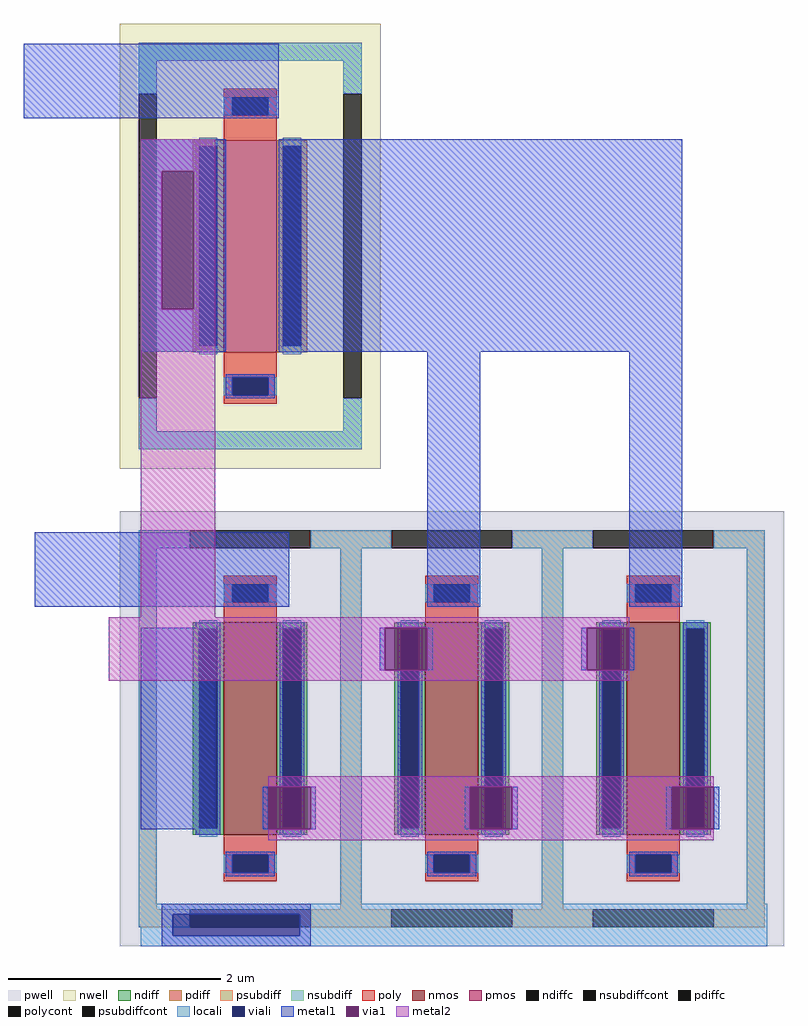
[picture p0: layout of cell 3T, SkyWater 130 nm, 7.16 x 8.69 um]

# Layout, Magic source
magic
tech sky130A
magscale 1 2
<< locali >>
rect -60 220 80 620
rect -60 -840 1120 -820
rect -60 -880 0 -840
rect 240 -880 1120 -840
rect -60 -900 1120 -880
<< viali >>
rect 0 -880 240 -840
<< metal1 >>
rect -280 660 200 800
rect -60 560 100 620
rect -60 300 -20 560
rect 40 300 100 560
rect -60 220 100 300
rect 200 220 960 620
rect -260 -260 220 -120
rect 480 -260 580 220
rect 860 -260 960 220
rect -60 -680 80 -300
rect 390 -380 400 -300
rect 480 -380 490 -300
rect 770 -380 780 -300
rect 860 -380 870 -300
rect 170 -680 180 -600
rect 260 -680 270 -600
rect 550 -680 560 -600
rect 640 -680 650 -600
rect 930 -680 940 -600
rect 1020 -680 1030 -600
rect -20 -840 260 -820
rect -20 -880 0 -840
rect 240 -880 260 -840
rect -20 -900 260 -880
<< via1 >>
rect -20 300 40 560
rect 400 -380 480 -300
rect 780 -380 860 -300
rect 180 -680 260 -600
rect 560 -680 640 -600
rect 940 -680 1020 -600
<< metal2 >>
rect -60 560 80 620
rect -60 300 -20 560
rect 40 300 80 560
rect -60 -280 80 300
rect -120 -300 860 -280
rect -120 -380 400 -300
rect 480 -380 780 -300
rect -120 -400 860 -380
rect 180 -600 1020 -580
rect 260 -680 560 -600
rect 640 -680 940 -600
rect 180 -700 1020 -680
use sky130_fd_pr__nfet_01v8_WSE2Y6  sky130_fd_pr__nfet_01v8_WSE2Y6_0
transform 1 0 906 0 1 -490
box -246 -410 246 410
use sky130_fd_pr__nfet_01v8_WSE2Y6  sky130_fd_pr__nfet_01v8_WSE2Y6_1
transform 1 0 146 0 1 -490
box -246 -410 246 410
use sky130_fd_pr__nfet_01v8_WSE2Y6  sky130_fd_pr__nfet_01v8_WSE2Y6_2
transform 1 0 526 0 1 -490
box -246 -410 246 410
use sky130_fd_pr__pfet_01v8_LDYTSD  sky130_fd_pr__pfet_01v8_LDYTSD_0
transform 1 0 146 0 1 419
box -246 -419 246 419
<< end >>

# cell sky130_fd_pr__nfet_01v8_WSE2Y6: kit device sky130_fd_pr__nfet_01v8, w 2 l 0.5 m 1 nf 1 diffcov 100 polycov 100 guard 1 glc 0 grc 0 gtc 1 gbc 1 tbcov 100 rlcov 100 topc 1 botc 1 poverlap 0 doverlap 1 lmin 0.15 wmin 0.42 compatible {sky130_fd_pr__nfet_01v8 sky130_fd_pr__nfet_01v8_lvt sky130_fd_bs_flash__special_sonosfet_star sky130_fd_pr__nfet_g5v0d10v5 sky130_fd_pr__nfet_05v0_nvt sky130_fd_pr__nfet_03v3_nvt} full_metal 1 viasrc 100 viadrn 100 viagate 100 viagb 0 viagr 0 viagl 0 viagt 0

# cell sky130_fd_pr__pfet_01v8_LDYTSD: kit device sky130_fd_pr__pfet_01v8, w 2 l 0.5 m 1 nf 1 diffcov 100 polycov 100 guard 1 glc 1 grc 1 gtc 0 gbc 0 tbcov 100 rlcov 100 topc 1 botc 1 poverlap 0 doverlap 1 lmin 0.15 wmin 0.42 compatible {sky130_fd_pr__pfet_01v8 sky130_fd_pr__pfet_01v8_lvt sky130_fd_pr__pfet_01v8_hvt sky130_fd_pr__pfet_g5v0d10v5} full_metal 1 viasrc 100 viadrn 100 viagate 100 viagb 0 viagr 0 viagl 0 viagt 0
